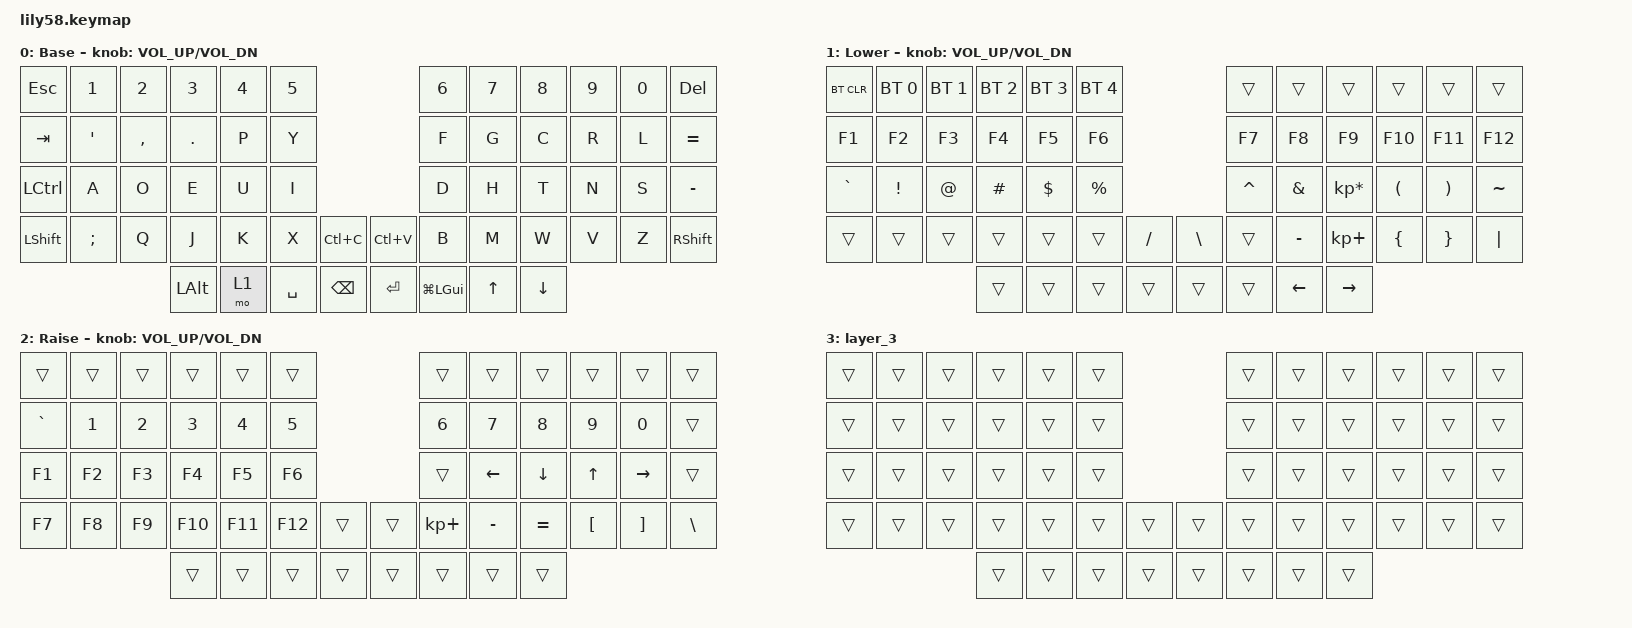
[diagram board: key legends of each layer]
/*
 * Copyright (c) 2020 The ZMK Contributors
 *
 * SPDX-License-Identifier: MIT
 */

#include <behaviors.dtsi>
#include <dt-bindings/zmk/bt.h>
#include <dt-bindings/zmk/keys.h>

/ {
    keymap {
        compatible = "zmk,keymap";

        default_layer {
            // ------------------------------------------------------------------------------------------------------------
            // |  ESC  |  1  |  2  |  3   |  4   |  5   |                   |  6   |  7    |  8    |  9   |   0   |   `   |
            // |  TAB  |  Q  |  W  |  E   |  R   |  T   |                   |  Y   |  U    |  I    |  O   |   P   |   -   |
            // |  CTRL |  A  |  S  |  D   |  F   |  G   |                   |  H   |  J    |  K    |  L   |   ;   |   '   |
            // | SHIFT |  Z  |  X  |  C   |  V   |  B   |   "["  |  |  "]"  |  N   |  M    |  ,    |  .   |   /   | SHIFT |
            //                     | ALT  | GUI  | LOWER|  SPACE |  | ENTER | RAISE| BSPC  | GUI   |

            display-name = "Base";
            bindings = <
&kp ESC    &kp N1    &kp N2     &kp N3    &kp N4  &kp N5                                 &kp N6        &kp N7  &kp N8    &kp N9  &kp N0  &kp DEL
&kp TAB    &kp APOS  &kp COMMA  &kp DOT   &kp P   &kp Y                                  &kp F         &kp G   &kp C     &kp R   &kp L   &kp EQUAL
&kp LCTRL  &kp A     &kp O      &kp E     &kp U   &kp I                                  &kp D         &kp H   &kp T     &kp N   &kp S   &kp MINUS
&kp LSHFT  &kp SEMI  &kp Q      &kp J     &kp K   &kp X      &kp LC(C)        &kp LC(V)  &kp B         &kp M   &kp W     &kp V   &kp Z   &kp RSHFT
                                &kp LALT  &mo 1   &kp SPACE  &kp BACKSPACE    &kp RET    &kp LG(LGUI)  &kp UP  &kp DOWN
            >;

            sensor-bindings = <&inc_dec_kp C_VOL_UP C_VOL_DN>;
        };

        lower_layer {
            // ------------------------------------------------------------------------------------------------------------
            // | BTCLR | BT1 | BT2 |  BT3 |  BT4 |  BT5 |                   |      |       |       |      |       |       |
            // |  F1   |  F2 |  F3 |  F4  |  F5  |  F6  |                   |  F7  |  F8   |  F9   |  F10 |  F11  |  F12  |
            // |   `   |  !  |  @  |  #   |  $   |  %   |                   |  ^   |  &    |  *    |  (   |   )   |   ~   |
            // |       |     |     |      |      |      |        |  |       |      |  _    |  +    |  {   |   }   |  "|"  |
            //                     |      |      |      |        |  |       |      |       |       |

            display-name = "Lower";
            bindings = <
&bt BT_CLR  &bt BT_SEL 0  &bt BT_SEL 1  &bt BT_SEL 2  &bt BT_SEL 3  &bt BT_SEL 4                        &trans     &trans     &trans           &trans    &trans    &trans
&kp F1      &kp F2        &kp F3        &kp F4        &kp F5        &kp F6                              &kp F7     &kp F8     &kp F9           &kp F10   &kp F11   &kp F12
&kp GRAVE   &kp EXCL      &kp AT        &kp HASH      &kp DOLLAR    &kp PRCNT                           &kp CARET  &kp AMPS   &kp KP_MULTIPLY  &kp LPAR  &kp RPAR  &kp TILDE
&trans      &trans        &trans        &trans        &trans        &trans        &kp FSLH    &kp BSLH  &trans     &kp MINUS  &kp KP_PLUS      &kp LBRC  &kp RBRC  &kp PIPE
                                        &trans        &trans        &trans        &trans      &trans    &trans     &kp LEFT   &kp RIGHT
            >;

            sensor-bindings = <&inc_dec_kp C_VOL_UP C_VOL_DN>;
        };

        raise_layer {
            // ------------------------------------------------------------------------------------------------------------
            // |       |     |     |      |      |      |                   |      |       |       |      |       |       |
            // |   `   |  1  |  2  |  3   |  4   |  5   |                   |  6   |   7   |   8   |  9   |   0   |       |
            // |   F1  |  F2 |  F3 |  F4  |  F5  |  F6  |                   |      |   <-  |   v   |  ^   |  ->   |       |
            // |   F7  |  F8 |  F9 |  F10 |  F11 |  F12 |        |  |       |  +   |   -   |   =   |  [   |   ]   |   \   |
            //                     |      |      |      |        |  |       |      |       |       |

            display-name = "Raise";
            bindings = <
&trans     &trans  &trans  &trans   &trans   &trans                     &trans       &trans     &trans     &trans    &trans     &trans
&kp GRAVE  &kp N1  &kp N2  &kp N3   &kp N4   &kp N5                     &kp N6       &kp N7     &kp N8     &kp N9    &kp N0     &trans
&kp F1     &kp F2  &kp F3  &kp F4   &kp F5   &kp F6                     &trans       &kp LEFT   &kp DOWN   &kp UP    &kp RIGHT  &trans
&kp F7     &kp F8  &kp F9  &kp F10  &kp F11  &kp F12  &trans    &trans  &kp KP_PLUS  &kp MINUS  &kp EQUAL  &kp LBKT  &kp RBKT   &kp BSLH
                           &trans   &trans   &trans   &trans    &trans  &trans       &trans     &trans
            >;

            sensor-bindings = <&inc_dec_kp C_VOL_UP C_VOL_DN>;
        };

        layer_3 {
            bindings = <
&trans  &trans  &trans  &trans  &trans  &trans                    &trans  &trans  &trans  &trans  &trans  &trans
&trans  &trans  &trans  &trans  &trans  &trans                    &trans  &trans  &trans  &trans  &trans  &trans
&trans  &trans  &trans  &trans  &trans  &trans                    &trans  &trans  &trans  &trans  &trans  &trans
&trans  &trans  &trans  &trans  &trans  &trans  &trans    &trans  &trans  &trans  &trans  &trans  &trans  &trans
                        &trans  &trans  &trans  &trans    &trans  &trans  &trans  &trans
            >;
        };
    };
};
